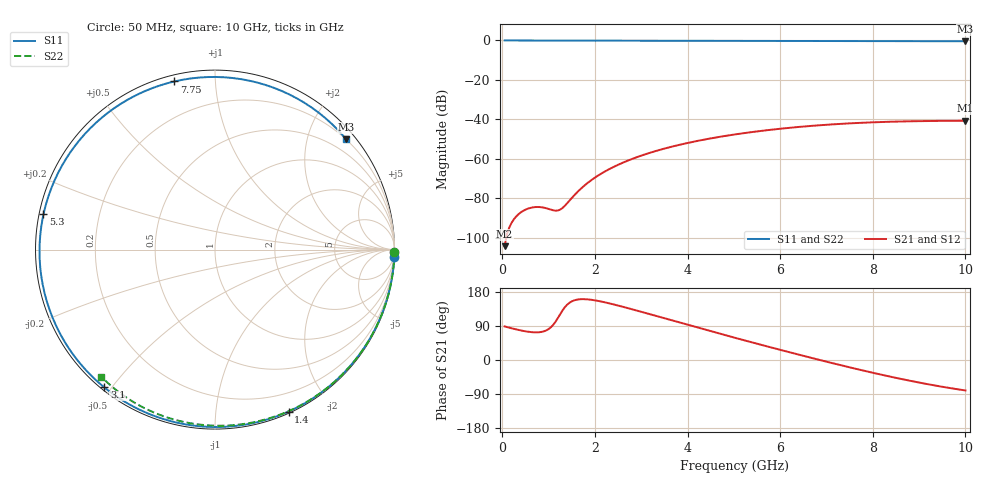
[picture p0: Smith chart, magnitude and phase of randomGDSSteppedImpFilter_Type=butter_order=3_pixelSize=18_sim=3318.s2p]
! freq	dB(S11)	phase(S11)	dB(S12)	phase(S12)
!  dB(S21)	phase(S21)	dB(S22)	phase(S22)
!S-par simulation data
#  GHz  S  DB  R 50
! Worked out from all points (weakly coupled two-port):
!   200 points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, 50 MHz to 10 GHz, reference 50 ohm
!   highest |S21| = -40.72 dB at 10 GHz (marker M1); lowest = -104.3 dB at 50 MHz (marker M2)
!   lowest |S11| = -0.4 dB at 10 GHz (marker M3), VSWR 43.19, Z = 9.79 + j136 ohm
!   |S11| at or under -10 dB: nowhere
!   |S22| runs from -0.4 to 0.0 dB; largest |S21 - S12| = 0
!   S11 on the Smith chart (normalised r, x): 50 MHz: 0, -46; 1.4 GHz: 0.02, -1.55; 3.1 GHz: 0.01, -0.48; 5.3 GHz: 0.01, +0.10; 7.75 GHz: 0.03, +0.79; 10 GHz: 0.20, +2.72
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0.05  -0.00 -2.5  -104.30 88.6  -104.30 88.6  -0.00 -0.8
0.35  -0.02 -17.2  -88.10 79.4  -88.10 79.4  -0.01 -5.3
0.65  -0.04 -31.6  -84.67 73.3  -84.67 73.3  -0.01 -9.8
1.05  -0.06 -50.1  -85.79 86.4  -85.79 86.4  -0.02 -15.9
1.4  -0.08 -65.6  -82.56 145.9  -82.56 145.9  -0.03 -21.1
1.5  -0.08 -69.8  -79.89 154.7  -79.89 154.7  -0.03 -22.6
1.75  -0.09 -80.2  -74.04 160.6  -74.04 160.6  -0.03 -26.3
2  -0.10 -90.1  -69.55 157.5  -69.55 157.5  -0.04 -29.9
2.3  -0.11 -101.4  -65.35 149.8  -65.35 149.8  -0.04 -34.3
2.65  -0.12 -113.8  -61.50 138.9  -61.50 138.9  -0.05 -39.4
3.1  -0.13 -128.8  -57.61 123.8  -57.61 123.8  -0.06 -45.8
3.4  -0.14 -138.3  -55.47 113.6  -55.47 113.6  -0.07 -50.0
4.2  -0.17 -161.8  -51.00 86.2  -51.00 86.2  -0.09 -61.0
5.05  -0.20 175.0  -47.55 57.7  -47.55 57.7  -0.11 -72.4
5.3  -0.21 168.4  -46.72 49.5  -46.72 49.5  -0.12 -75.6
6  -0.24 150.0  -44.77 26.9  -44.77 26.9  -0.15 -84.6
6.7  -0.28 131.7  -43.26 4.8  -43.26 4.8  -0.18 -93.3
7.25  -0.30 117.1  -42.36 -12.0  -42.36 -12.0  -0.21 -99.9
7.75  -0.32 103.6  -41.75 -26.6  -41.75 -26.6  -0.24 -105.9
8.35  -0.34 87.0  -41.23 -43.2  -41.23 -43.2  -0.29 -112.9
9.15  -0.37 64.4  -40.85 -63.0  -40.85 -63.0  -0.36 -122.1
10  -0.40 40.1  -40.72 -80.3  -40.72 -80.3  -0.44 -131.8
